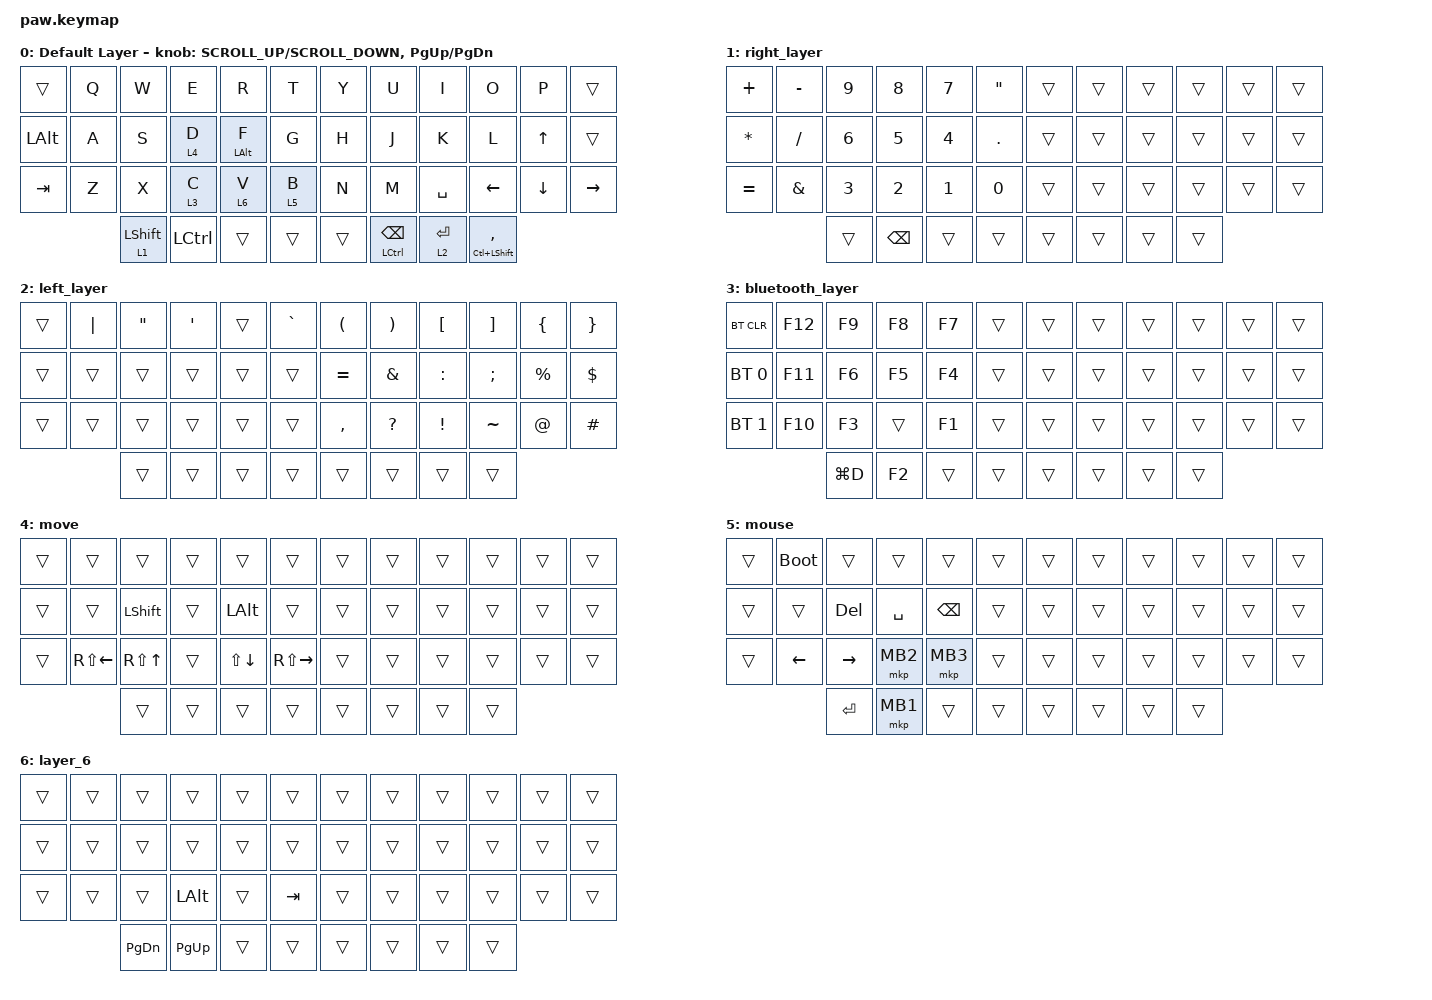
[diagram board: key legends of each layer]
/*
 * Copyright (c) 2020 The ZMK Contributors
 *
 * SPDX-License-Identifier: MIT
 */

#include <behaviors.dtsi>
#include <dt-bindings/zmk/bt.h>
#include <dt-bindings/zmk/keys.h>
#include <dt-bindings/zmk/pointing.h>

/ {
    behaviors {
        ht: hold_tap {
            compatible = "zmk,behavior-hold-tap";
            label = "hold_tap";
            bindings = <&kp>, <&kp>;

            #binding-cells = <2>;
            tapping-term-ms = <200>;
            quick-tap-ms = <150>;
            flavor = "balanced";
        };
    };

    keymap {
        compatible = "zmk,keymap";

        default_layer {
            display-name = "Default Layer";

            // -----------------------------------------------------------------------------------------
            // |  TAB |  Q  |  W  |  E  |  R  |  T  |   |  Y  |  U   |  I  |  O  |  P  | BSPC |
            // | CTRL |  A  |  S  |  D  |  F  |  G  |   |  H  |  J   |  K  |  L  |  ;  |  '   |
            // | SHFT |  Z  |  X  |  C  |  V  |  B  |   |  N  |  M   |  ,  |  .  |  /  | ESC  |
            //                    | GUI | LWR | SPC |   | ENT | RSE  | ALT |

            bindings = <
&trans        &kp Q  &kp W             &kp E      &kp R           &kp T        &kp Y   &kp U                       &kp I        &kp O                     &kp P         &trans
&kp LEFT_ALT  &kp A  &kp S             &lt 4 D    &ht LEFT_ALT F  &kp G        &kp H   &kp J                       &kp K        &kp L                     &kp UP_ARROW  &trans
&kp TAB       &kp Z  &kp X             &lt 3 C    &lt 6 V         &lt 5 B      &kp N   &kp M                       &kp SPACE    &kp LEFT                  &kp DOWN      &kp RIGHT
                     &lt 1 LEFT_SHIFT  &kp LCTRL  &trans          &trans       &trans  &ht LEFT_CONTROL BACKSPACE  &lt 2 ENTER  &ht LC(LEFT_SHIFT) COMMA
            >;

            sensor-bindings =
                <&inc_dec_kp K_SCROLL_UP K_SCROLL_DOWN>,
                <&inc_dec_kp PAGE_UP PG_DN>;
        };

        right_layer {
            bindings = <
&kp PLUS      &kp MINUS      &kp NUMBER_9  &kp NUMBER_8   &kp NUMBER_7  &kp DOUBLE_QUOTES      &trans  &trans  &trans  &trans  &trans  &trans
&kp ASTERISK  &kp SLASH      &kp NUMBER_6  &kp NUMBER_5   &kp NUMBER_4  &kp PERIOD             &trans  &trans  &trans  &trans  &trans  &trans
&kp EQUAL     &kp AMPERSAND  &kp NUMBER_3  &kp NUMBER_2   &kp NUMBER_1  &kp NUMBER_0           &trans  &trans  &trans  &trans  &trans  &trans
                             &trans        &kp BACKSPACE  &trans        &trans                 &trans  &trans  &trans  &trans
            >;
        };

        left_layer {
            bindings = <
&trans  &kp PIPE  &kp DOUBLE_QUOTES  &kp SQT  &trans  &kp GRAVE      &kp LEFT_PARENTHESIS  &kp RIGHT_PARENTHESIS  &kp LEFT_BRACKET  &kp RIGHT_BRACKET  &kp LEFT_BRACE  &kp RIGHT_BRACE
&trans  &trans    &trans             &trans   &trans  &trans         &kp EQUAL             &kp AMPERSAND          &kp COLON         &kp SEMICOLON      &kp PERCENT     &kp DOLLAR
&trans  &trans    &trans             &trans   &trans  &trans         &kp COMMA             &kp QUESTION           &kp EXCLAMATION   &kp TILDE          &kp AT_SIGN     &kp HASH
                  &trans             &trans   &trans  &trans         &trans                &trans                 &trans            &trans
            >;
        };

        bluetooth_layer {
            bindings = <
&bt BT_CLR    &kp F12  &kp F9     &kp F8  &kp F7  &trans      &trans  &trans  &trans  &trans  &trans  &trans
&bt BT_SEL 0  &kp F11  &kp F6     &kp F5  &kp F4  &trans      &trans  &trans  &trans  &trans  &trans  &trans
&bt BT_SEL 1  &kp F10  &kp F3     &trans  &kp F1  &trans      &trans  &trans  &trans  &trans  &trans  &trans
                       &kp LG(D)  &kp F2  &trans  &trans      &trans  &trans  &trans  &trans
            >;
        };

        move {
            bindings = <
&trans  &trans              &trans            &trans  &trans        &trans             &trans  &trans  &trans  &trans  &trans  &trans
&trans  &trans              &kp LEFT_SHIFT    &trans  &kp LEFT_ALT  &trans             &trans  &trans  &trans  &trans  &trans  &trans
&trans  &kp RS(LEFT_ARROW)  &kp RS(UP_ARROW)  &trans  &kp LS(DOWN)  &kp RS(RIGHT)      &trans  &trans  &trans  &trans  &trans  &trans
                            &trans            &trans  &trans        &trans             &trans  &trans  &trans  &trans
            >;
        };

        mouse {
            bindings = <
&trans  &bootloader  &trans      &trans     &trans         &trans      &trans  &trans  &trans  &trans  &trans  &trans
&trans  &trans       &kp DELETE  &kp SPACE  &kp BACKSPACE  &trans      &trans  &trans  &trans  &trans  &trans  &trans
&trans  &kp LEFT     &kp RIGHT   &mkp MB2   &mkp MB3       &trans      &trans  &trans  &trans  &trans  &trans  &trans
                     &kp ENTER   &mkp MB1   &trans         &trans      &trans  &trans  &trans  &trans
            >;
        };

        layer_6 {
            bindings = <
&trans  &trans  &trans         &trans        &trans  &trans       &trans  &trans  &trans  &trans  &trans  &trans
&trans  &trans  &trans         &trans        &trans  &trans       &trans  &trans  &trans  &trans  &trans  &trans
&trans  &trans  &trans         &kp LEFT_ALT  &trans  &kp TAB      &trans  &trans  &trans  &trans  &trans  &trans
                &kp PAGE_DOWN  &kp PAGE_UP   &trans  &trans       &trans  &trans  &trans  &trans
            >;
        };
    };
};
